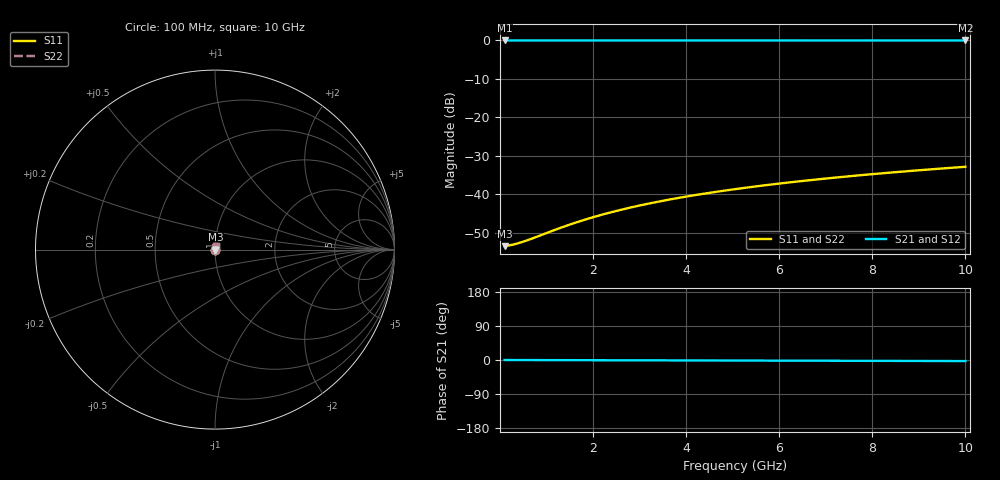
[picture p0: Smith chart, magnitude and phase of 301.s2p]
# Hz S RI R 50.00
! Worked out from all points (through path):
!   100 points, 100 MHz to 10 GHz, reference 50 ohm
!   highest |S21| = -0.02 dB at 100 MHz (marker M1); lowest = 0.0 dB at 10 GHz (marker M2)
!   lowest |S11| = -53.4 dB at 100 MHz (marker M3), VSWR 1.00, Z = 50.2 + j0.0227 ohm
!   |S11| at or under -10 dB: start of sweep to end of sweep
!   |S22| runs from -53.4 to -32.8 dB; largest |S21 - S12| = 0
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1e8  0.00212 0.000226  0.9979 -0.000494  0.9979 -0.000494  0.00212 0.000226
2e8  0.00213 0.000453  0.9979 -0.000987  0.9979 -0.000987  0.00213 0.000453
3e8  0.00214 0.000679  0.9979 -0.00148  0.9979 -0.00148  0.00214 0.000679
5e8  0.00216 0.00113  0.9978 -0.00247  0.9978 -0.00247  0.00216 0.00113
7e8  0.00217 0.00158  0.9978 -0.00346  0.9978 -0.00346  0.00217 0.00158
1.3e9  0.00221 0.00294  0.9978 -0.00642  0.9978 -0.00642  0.00221 0.00294
1.6e9  0.00223 0.00362  0.9978 -0.0079  0.9978 -0.0079  0.00223 0.00362
1.8e9  0.00224 0.00407  0.9977 -0.00889  0.9977 -0.00889  0.00224 0.00407
2.2e9  0.00227 0.00498  0.9977 -0.0109  0.9977 -0.0109  0.00227 0.00498
2.6e9  0.0023 0.00588  0.9977 -0.0128  0.9977 -0.0128  0.0023 0.00588
3e9  0.00234 0.00678  0.9976 -0.0148  0.9976 -0.0148  0.00234 0.00678
3.4e9  0.00237 0.00769  0.9976 -0.0168  0.9976 -0.0168  0.00237 0.00769
3.8e9  0.00241 0.00859  0.9975 -0.0188  0.9975 -0.0188  0.00241 0.00859
4.2e9  0.00246 0.0095  0.9975 -0.0207  0.9975 -0.0207  0.00246 0.0095
4.6e9  0.0025 0.0104  0.9974 -0.0227  0.9974 -0.0227  0.0025 0.0104
5.1e9  0.00257 0.0115  0.9973 -0.0252  0.9973 -0.0252  0.00257 0.0115
5.9e9  0.00268 0.0133  0.9972 -0.0291  0.9972 -0.0291  0.00268 0.0133
6.7e9  0.00281 0.0151  0.997 -0.0331  0.997 -0.0331  0.00281 0.0151
7.5e9  0.00295 0.0169  0.9968 -0.037  0.9968 -0.037  0.00295 0.0169
8.4e9  0.00312 0.019  0.9966 -0.0414  0.9966 -0.0414  0.00312 0.019
9.2e9  0.00329 0.0208  0.9964 -0.0454  0.9964 -0.0454  0.00329 0.0208
1e10  0.00348 0.0226  0.9961 -0.0493  0.9961 -0.0493  0.00348 0.0226
